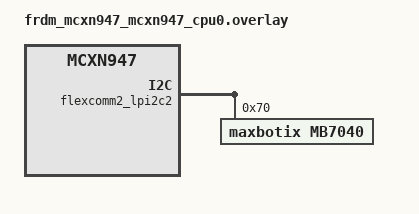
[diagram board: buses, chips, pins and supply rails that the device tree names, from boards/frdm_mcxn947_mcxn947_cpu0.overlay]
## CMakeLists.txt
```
cmake_minimum_required(VERSION 3.20.0)


find_package(Zephyr REQUIRED HINTS $ENV{ZEPHYR_BASE})

project(distance_display)

target_sources(app PRIVATE src/main.c)
```

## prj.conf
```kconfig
CONFIG_LV_Z_MEM_POOL_SIZE=65536
CONFIG_LV_Z_SHELL=y
CONFIG_MAIN_STACK_SIZE=4096

CONFIG_DISPLAY=y
CONFIG_DISPLAY_LOG_LEVEL_ERR=y

CONFIG_LOG=y
CONFIG_SHELL=y

CONFIG_LVGL=y
CONFIG_LV_USE_LOG=y
CONFIG_LV_USE_LABEL=y
CONFIG_LV_USE_ARC=y
CONFIG_LV_USE_BAR=y

CONFIG_LV_FONT_MONTSERRAT_18=y
CONFIG_LV_FONT_MONTSERRAT_20=y
CONFIG_LV_FONT_MONTSERRAT_22=y
CONFIG_LV_FONT_MONTSERRAT_28=y

#sensor
CONFIG_I2C=y
CONFIG_LOG=y
CONFIG_SENSOR=y
```

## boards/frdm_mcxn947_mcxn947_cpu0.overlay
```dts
&flexcomm2_lpi2c2 {
    status = "okay";
    mb7040: mb7040@70 {
        compatible = "maxbotix,mb7040";
        status = "okay";
        reg = <0x70>;
    };
};
```

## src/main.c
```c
#include <zephyr/device.h>
#include <zephyr/devicetree.h>
#include <zephyr/drivers/display.h>
#include <zephyr/drivers/gpio.h>
#include <lvgl.h>
#include <stdio.h>
#include <string.h>
#include <zephyr/logging/log.h>
#include <zephyr/kernel.h>
#include <lvgl_input_device.h>
#include <zephyr/sys/printk.h>    
#include <zephyr/drivers/i2c.h>
#include <zephyr/drivers/sensor.h> 

LOG_MODULE_REGISTER(distance_display, LOG_LEVEL_INF);


#define MAX_VALUE 765
#define MIN_VALUE 0
#define MAX_POINTS 50

static lv_obj_t *history_screen;
static lv_obj_t *main_screen;

static lv_obj_t *label;
static lv_obj_t *sw;
static lv_obj_t *cm_label;
static lv_obj_t *inch_label;
static lv_obj_t *bar;
static lv_obj_t *title;
static lv_obj_t *chart;
static lv_obj_t *pause_btn;
static lv_obj_t *darkMode_btn;

static lv_style_t default_style;
static lv_chart_series_t *series;
static bool chart_paused;
static struct sensor_value sensor_val;
static lv_style_t style_bar_indic;
static bool use_cm;

static bool is_dark_mode;
static lv_style_t dark_bg_style;
static lv_style_t light_bg_style;
static lv_style_t dark_btn_style;
static lv_style_t light_btn_style;
static lv_style_t dark_label_style;
static lv_style_t light_label_style;

static int saved_points[MAX_POINTS];
static int saved_count = 0;
static lv_obj_t *save_btn;
static lv_obj_t *history_btn;
static lv_obj_t *hist_title;
static lv_obj_t *point_label;


void history_points(void);

static int update_distance(const struct device *sensor_dev)
{
    int ret;
    char buf[8];

    ret = sensor_sample_fetch(sensor_dev);
    if (ret != 0) {
        printk("ERROR: Failed to fetch sample: %d\n", ret);
        return ret;
    }

    do {
        ret = sensor_channel_get(sensor_dev, SENSOR_CHAN_DISTANCE, &sensor_val);
        if (ret == -EAGAIN) {
            k_msleep(5);
        }
    } while (ret == -EAGAIN);

    if (ret != 0) {
        printk("ERROR: Failed to get channel: %d\n", ret);
        return ret;
    }
    // Convert to total centimeters from meters + micro-meters
    int total_cm = sensor_val.val1 * 100 + sensor_val.val2 / 10000;

    // Clamp value if needed
    if (total_cm < MIN_VALUE) total_cm = MIN_VALUE;
    if (total_cm > MAX_VALUE) total_cm = MAX_VALUE;

    // Print distance

    if (use_cm){
        // LOG_INF("Distance in cm: %d", total_cm);

        lv_snprintf(buf, sizeof(buf), "%d cm", total_cm);
    } else{
        //convert cm to inches 
        int inches = total_cm / 2.54;
        // LOG_INF("Distance in inches: %d", inches);

        lv_snprintf(buf, sizeof(buf), "%d ''", inches);
    }

    lv_chart_set_next_value(chart, series, total_cm);

        // Update LVGL UI
    lv_label_set_text(label, buf);
    lv_bar_set_value(bar, total_cm, LV_ANIM_ON);


    return 0;
}

static void sw_event_cb(lv_event_t * e){
    lv_obj_t * sw = lv_event_get_target_obj(e);

    if (lv_obj_has_state(sw, LV_STATE_CHECKED)) {
        use_cm = true;
    } else {
        use_cm = false;
    }
}


void init_styles(void) {
    // Backgrounds
    lv_style_init(&dark_bg_style);
    lv_style_set_bg_color(&dark_bg_style, lv_color_hex(0x121212));
    lv_style_set_bg_opa(&dark_bg_style, LV_OPA_COVER);

    lv_style_init(&light_bg_style);
    lv_style_set_bg_color(&light_bg_style, lv_color_hex(0xf0f0f0));
    lv_style_set_bg_opa(&light_bg_style, LV_OPA_COVER);

    // Buttons
    lv_style_init(&dark_btn_style);
    lv_style_set_bg_color(&dark_btn_style, lv_palette_main(LV_PALETTE_GREY));
    lv_style_set_text_color(&dark_btn_style, lv_color_white());

    lv_style_init(&light_btn_style);
    lv_style_set_bg_color(&light_btn_style, lv_palette_main(LV_PALETTE_LIGHT_BLUE));
    lv_style_set_text_color(&light_btn_style, lv_color_black());

    // Labels
    lv_style_init(&dark_label_style);
    lv_style_set_text_color(&dark_label_style, lv_color_white());

    lv_style_init(&light_label_style);
    lv_style_set_text_color(&light_label_style, lv_color_black());
}


void unit_swtich(void){

    sw = lv_switch_create(lv_screen_active());
    lv_obj_align(sw, LV_ALIGN_TOP_LEFT, 95, 10);
    lv_obj_add_state(sw, LV_STATE_CHECKED);
    lv_obj_add_event_cb(sw, sw_event_cb, LV_EVENT_VALUE_CHANGED, label);

    cm_label = lv_label_create(lv_scr_act());
    lv_label_set_text(cm_label, "cm");
    lv_obj_align_to(cm_label, sw, LV_ALIGN_TOP_LEFT, 60, 10);
    lv_obj_set_style_text_font(cm_label, &lv_font_montserrat_20, 0);

    inch_label = lv_label_create(lv_scr_act());
    lv_label_set_text(inch_label, "inches");
    lv_obj_align_to(inch_label, sw, LV_ALIGN_TOP_LEFT, -75, 10);
    lv_obj_set_style_text_font(inch_label, &lv_font_montserrat_20, 0);
}

void pause_btn_event_cb(lv_event_t * e) {
    if (lv_event_get_code(e) == LV_EVENT_CLICKED) {
        chart_paused = !chart_paused; 

        static lv_style_t red_style;
        static bool styles_initialized = false;

        if (!styles_initialized) {
            lv_style_init(&red_style);
            lv_style_set_bg_color(&red_style, lv_palette_main(LV_PALETTE_RED));
            lv_style_set_bg_opa(&red_style, LV_OPA_COVER);

            styles_initialized = true;
        }

        lv_obj_t *btn = lv_event_get_target_obj(e);

        if (chart_paused) {
            lv_obj_add_style(btn, &red_style, LV_PART_MAIN);
        } else {
            lv_obj_add_style(btn, &default_style, LV_PART_MAIN);
            lv_obj_remove_style(btn, &red_style, LV_PART_MAIN);
        }
    }
}

void pause_button(void){

    lv_style_init(&default_style);
    lv_style_set_bg_color(&default_style, lv_palette_main(LV_PALETTE_GREEN));
    lv_style_set_bg_opa(&default_style, LV_OPA_COVER);

    pause_btn = lv_button_create(lv_screen_active());
    lv_obj_align(pause_btn, LV_ALIGN_TOP_RIGHT, -20, 5);
    lv_obj_set_size(pause_btn, 100, 50);
    lv_obj_add_event_cb(pause_btn, pause_btn_event_cb, LV_EVENT_ALL, NULL);
    lv_obj_add_style(pause_btn, &default_style, LV_PART_MAIN);

    lv_obj_t * pause = lv_label_create(pause_btn);         
    lv_label_set_text(pause, "Pause");  
    lv_obj_center(pause);
    lv_obj_set_style_text_font(pause, &lv_font_montserrat_20, 0);
}

void set_theme(bool dark) {
    if (dark) {
        lv_obj_add_style(lv_scr_act(), &dark_bg_style, 0);
        lv_obj_remove_style(lv_scr_act(), &light_bg_style, 0);

        lv_obj_add_style(darkMode_btn, &dark_btn_style, LV_PART_MAIN);

        lv_obj_add_style(label, &dark_label_style, 0);
        lv_obj_add_style(title, &dark_label_style, 0);
        lv_obj_add_style(cm_label, &dark_label_style, 0);
        lv_obj_add_style(inch_label, &dark_label_style, 0);

        lv_chart_set_series_color(chart, series, lv_palette_main(LV_PALETTE_ORANGE));


    } else {
        lv_obj_add_style(lv_scr_act(), &light_bg_style, 0);
        lv_obj_remove_style(lv_scr_act(), &dark_bg_style, 0);

        lv_obj_add_style(darkMode_btn, &light_btn_style, LV_PART_MAIN);

        lv_obj_add_style(label, &light_label_style, 0);
        lv_obj_add_style(title, &light_label_style, 0);
        lv_obj_add_style(cm_label, &light_label_style, 0);
        lv_obj_add_style(inch_label, &light_label_style, 0);


        lv_chart_set_series_color(chart, series, lv_palette_main(LV_PALETTE_BLUE));

    }
}


static void dark_btn_event_cb(lv_event_t *e) {
    if (lv_event_get_code(e) == LV_EVENT_CLICKED) {
        is_dark_mode = !is_dark_mode;
        set_theme(is_dark_mode);
    }
}

void dark_mode(void){
    darkMode_btn = lv_button_create(lv_scr_act());
    lv_obj_align(darkMode_btn, LV_ALIGN_TOP_RIGHT, -140, 5);
    lv_obj_set_size(darkMode_btn, 130, 50);
    lv_obj_add_event_cb(darkMode_btn, dark_btn_event_cb, LV_EVENT_CLICKED, NULL);

    lv_obj_t *label = lv_label_create(darkMode_btn);
    lv_label_set_text(label, "Dark Mode");
    lv_obj_center(label);
    lv_obj_set_style_text_font(label, &lv_font_montserrat_20, 0);
}

void distance_bar(void)
{
    lv_style_init(&style_bar_indic);
    lv_style_set_bg_opa(&style_bar_indic, LV_OPA_COVER);
    lv_style_set_bg_color(&style_bar_indic, lv_color_make(255, 0, 0));
    lv_style_set_bg_grad_color(&style_bar_indic, lv_color_make(0, 0, 255));
    lv_style_set_bg_grad_dir(&style_bar_indic, LV_GRAD_DIR_HOR);

    title = lv_label_create(lv_scr_act());
    lv_label_set_text(title, "Distance Monitor");
    lv_obj_align(title, LV_ALIGN_BOTTOM_MID, 0, -5);
    lv_obj_set_style_text_font(title, &lv_font_montserrat_20, 0);

    bar = lv_bar_create(lv_scr_act());
    lv_bar_set_range(bar, MIN_VALUE, MAX_VALUE);
    lv_obj_set_size(bar, 400, 30);
    lv_obj_align_to(bar, chart, LV_ALIGN_CENTER, 0, 60);

    lv_obj_add_style(bar, &style_bar_indic, LV_PART_INDICATOR);
    lv_obj_set_style_anim_time(bar, 300, LV_PART_INDICATOR);

    label = lv_label_create(lv_scr_act());
    lv_label_set_text(label, "0");
    lv_obj_align_to(label, bar, LV_ALIGN_OUT_BOTTOM_MID, -20, 5);
    lv_obj_set_style_text_font(label, &lv_font_montserrat_18, 0); 
}


void distance_chart(void){
    chart = lv_chart_create(lv_scr_act());
    lv_obj_set_size(chart, 400, 120);
    lv_obj_align_to(chart, bar, LV_ALIGN_OUT_TOP_MID, 0, -10);
    lv_chart_set_type(chart, LV_CHART_TYPE_LINE);
    lv_chart_set_range(chart, LV_CHART_AXIS_PRIMARY_Y, MIN_VALUE, MAX_VALUE);
    lv_chart_set_point_count(chart, 50);
    lv_chart_set_update_mode(chart, LV_CHART_UPDATE_MODE_SHIFT);

    series = lv_chart_add_series(chart, lv_palette_main(LV_PALETTE_BLUE), LV_CHART_AXIS_PRIMARY_Y);

    lv_obj_set_style_bg_opa(chart, LV_OPA_TRANSP, LV_PART_MAIN);
    lv_obj_set_style_border_width(chart, 0, LV_PART_MAIN);
    lv_obj_set_style_pad_all(chart, 0, LV_PART_MAIN);
    lv_obj_set_style_line_opa(chart, LV_OPA_TRANSP, LV_PART_MAIN);

    lv_obj_set_style_size(chart, 0, 0, LV_PART_INDICATOR);
}

void save_current_point(void) {
    if (saved_count >= MAX_POINTS) {
        return; // Array is full
    }
    
    // Convert sensor value to cm (same logic as in update_distance)
    int total_cm = sensor_val.val1 * 100 + sensor_val.val2 / 10000;
    
    // Clamp value if needed
    if (total_cm < MIN_VALUE) total_cm = MIN_VALUE;
    if (total_cm > MAX_VALUE) total_cm = MAX_VALUE;
    
    // Save the current distance
    saved_points[saved_count] = total_cm;
    saved_count++;
}


void back_to_main_cb(lv_event_t * e) {
    lv_scr_load(main_screen);   // Switch back to main screen

    if (history_screen != NULL) {
        lv_obj_del(history_screen);  // Delete history UI elements
        history_screen = NULL;
    }
}


void reset_cb(lv_event_t * e) {
    // Clear saved points
    for (int i = 0; i < saved_count; i++) {
        saved_points[i] = 0;
    }
    saved_count = 0;

    history_points();
}

void history_points(void) {
    history_screen = lv_obj_create(NULL);  // Create a new screen

    // Set background color based on theme
    if (is_dark_mode) {
        lv_obj_set_style_bg_color(history_screen, lv_color_hex(0x121212), 0);
        // lv_obj_add_style(hist_title, &dark_label_style, 0);
        // lv_obj_add_style(point_label, &dark_label_style, 0);

    } else {
        lv_obj_set_style_bg_color(history_screen, lv_color_hex(0xf0f0f0), 0);
        // lv_obj_add_style(hist_title, &light_label_style, 0);
        // lv_obj_add_style(point_label, &light_label_style, 0);
    }

    // Add a title label
    hist_title = lv_label_create(history_screen);
    lv_label_set_text(hist_title, "Saved Points History");
    lv_obj_align(hist_title, LV_ALIGN_TOP_MID, 0, 10);
    lv_obj_set_style_text_font(hist_title, &lv_font_montserrat_20, 0); 

    if (is_dark_mode) {
        lv_obj_add_style(hist_title, &dark_label_style, 0);

    } else {
        lv_obj_add_style(hist_title, &light_label_style, 0);
    }

    // Show all saved points
    for (int i = 0; i < saved_count; i++) {
        char buf[32];

        if (use_cm) {
            lv_snprintf(buf, sizeof(buf), "Point %d: %d cm", i + 1, saved_points[i]);
        } else {
            int inches = saved_points[i] / 2.54;
            lv_snprintf(buf, sizeof(buf), "Point %d: %d ''", i + 1, inches);
        }

        point_label = lv_label_create(history_screen);
        lv_label_set_text(point_label, buf);
        lv_obj_align(point_label, LV_ALIGN_TOP_LEFT, 10, 40 + i * 20);

        if (is_dark_mode) {
            lv_obj_add_style(point_label, &dark_label_style, 0);

        } else {
            lv_obj_add_style(point_label, &light_label_style, 0);
        }
    }

    // Create a "Back" button
    lv_obj_t *back_btn = lv_button_create(history_screen);
    lv_obj_set_size(back_btn, 100, 40);
    lv_obj_align(back_btn, LV_ALIGN_TOP_RIGHT, -10, 30);
    lv_obj_add_event_cb(back_btn, back_to_main_cb, LV_EVENT_CLICKED, NULL);

    lv_obj_t *back_label = lv_label_create(back_btn);
    lv_label_set_text(back_label, "Back");
    lv_obj_center(back_label);

    //create reset button
    lv_obj_t *reset_btn = lv_button_create(history_screen);
    lv_obj_set_size(reset_btn, 100, 40);
    lv_obj_align(reset_btn, LV_ALIGN_RIGHT_MID, -10, -10);
    lv_obj_add_event_cb(reset_btn, reset_cb, LV_EVENT_CLICKED, NULL);

    lv_obj_t *reset_label = lv_label_create(reset_btn);
    lv_label_set_text(reset_label, "Reset");
    lv_obj_center(reset_label);

    // Load the history screen
    lv_scr_load(history_screen);
}



void save_btn_event_cb(lv_event_t * e) {
    if (lv_event_get_code(e) == LV_EVENT_CLICKED) {
        save_current_point();
    }
}

void history_btn_event_cb(lv_event_t * e) {
    if (lv_event_get_code(e) == LV_EVENT_CLICKED) {
        history_points();
    }
}

void create_save_history_buttons(void) {
    save_btn = lv_button_create(lv_scr_act());
    lv_obj_set_size(save_btn, 80, 40);
    lv_obj_align(save_btn, LV_ALIGN_BOTTOM_LEFT, 10, -10);
    lv_obj_add_event_cb(save_btn, save_btn_event_cb, LV_EVENT_CLICKED, NULL);
    lv_obj_t * save_label = lv_label_create(save_btn);
    lv_label_set_text(save_label, "Save");
    lv_obj_center(save_label);

    history_btn = lv_button_create(lv_scr_act());
    lv_obj_set_size(history_btn, 80, 40);
    lv_obj_align(history_btn, LV_ALIGN_BOTTOM_RIGHT, -10, -10);
    lv_obj_add_event_cb(history_btn, history_btn_event_cb, LV_EVENT_CLICKED, NULL);
    lv_obj_t * load_label = lv_label_create(history_btn);
    lv_label_set_text(load_label, "History");
    lv_obj_center(load_label);
}


int main(void)
{
    const struct device *sensor_dev = DEVICE_DT_GET_ONE(maxbotix_mb7040);
    k_msleep(500);

    if (!device_is_ready(sensor_dev)) {
        printk("Device not ready\n");
        return -1;
    }
    main_screen = lv_scr_act();
    init_styles();

    use_cm = true;
    chart_paused = false;
    is_dark_mode = false;
    distance_bar();
    unit_swtich();
    distance_chart();
    pause_button();
    dark_mode();
    set_theme(false);
    create_save_history_buttons();
    while (1) {
        if (!chart_paused) {
            update_distance(sensor_dev);
        }
        lv_timer_handler();
        k_sleep(K_MSEC(50)); 
    }

    return 0;
}
```
